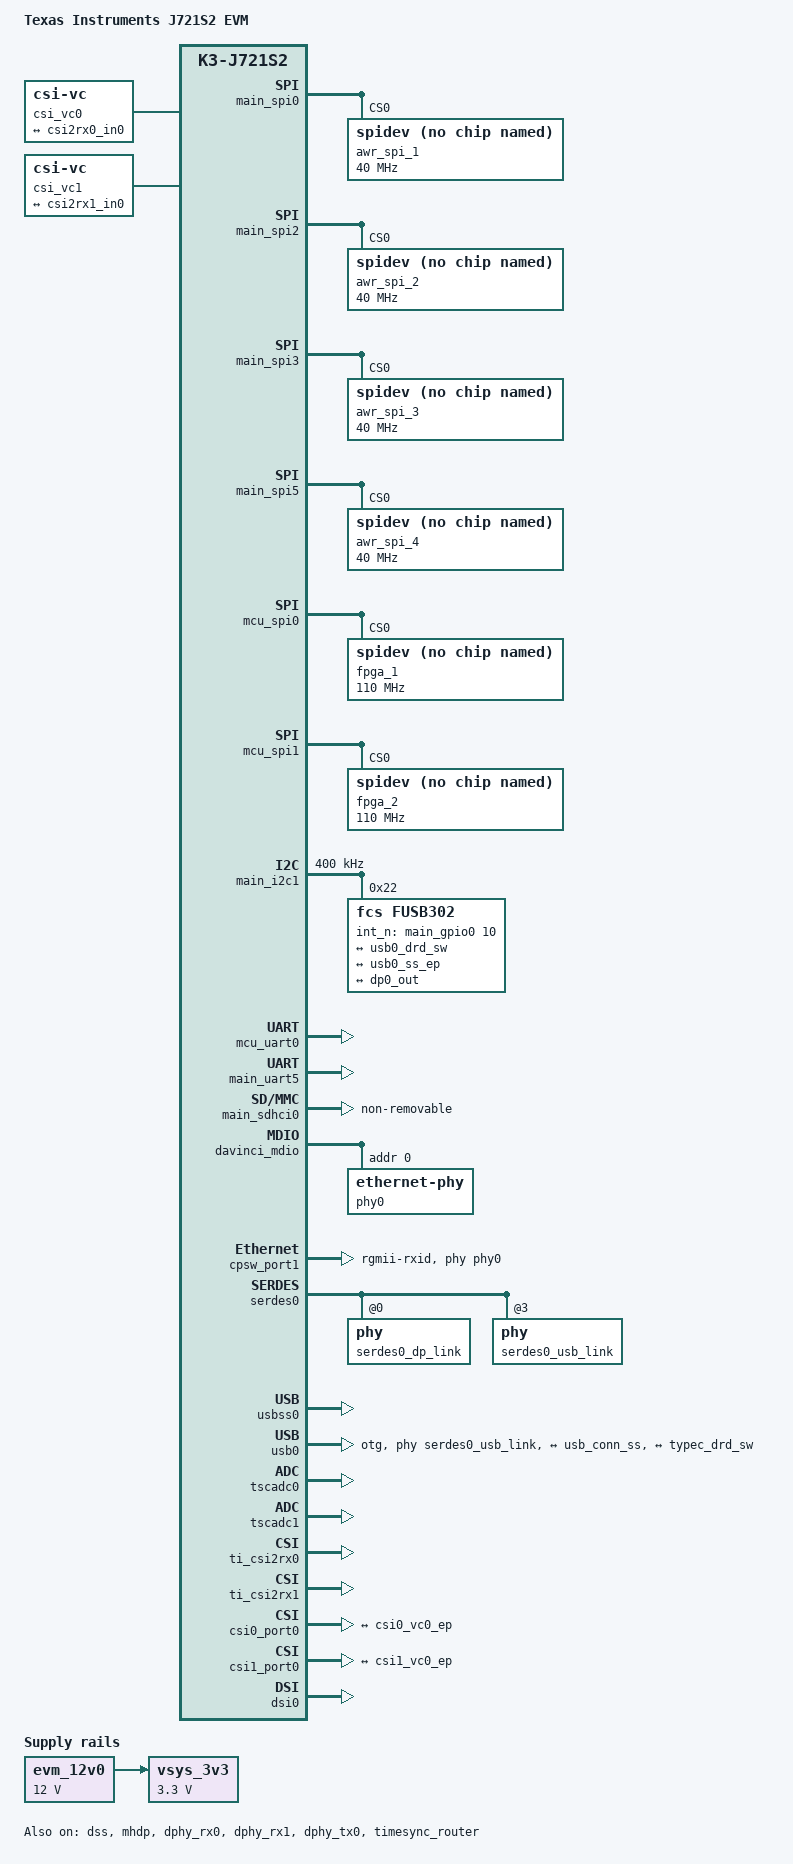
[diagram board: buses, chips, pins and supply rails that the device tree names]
// SPDX-License-Identifier: GPL-2.0
/*
 * Copyright (C) 2021 Texas Instruments Incorporated - https://www.ti.com/
 *
 * Common Processor Board: https://www.ti.com/tool/J721EXCPXEVM
 */

/dts-v1/;

#include "k3-j721s2-som-p0.dtsi"
#include <dt-bindings/net/ti-dp83867.h>
#include <dt-bindings/phy/phy-cadence.h>
#include <dt-bindings/phy/phy.h>
#include <dt-bindings/mux/ti-serdes.h>
#include <dt-bindings/usb/pd.h>

/ {
	compatible = "ti,j721s2-evm", "ti,j721s2";
	model = "Texas Instruments J721S2 EVM";

	chosen {
		//stdout-path = "serial2:115200n8";
		bootargs = "console=ttyS2,115200n8 mitigations=off root=/dev/mmcblk0p2";
	};

	aliases {
		serial0 = &wkup_uart0;
		serial1 = &mcu_uart0;
		serial2 = &main_uart5;
		mmc0 = &main_sdhci0;
		mmc1 = &main_sdhci1;
		can0 = &main_mcan16;
		can1 = &mcu_mcan0;
		can2 = &mcu_mcan1;
		can3 = &main_mcan3;
		can4 = &main_mcan5;
	};

	evm_12v0: fixedregulator-evm12v0 {
		/* main supply */
		compatible = "regulator-fixed";
		regulator-name = "evm_12v0";
		regulator-min-microvolt = <12000000>;
		regulator-max-microvolt = <12000000>;
		regulator-always-on;
		regulator-boot-on;
	};

	vsys_3v3: fixedregulator-vsys3v3 {
		/* Output of LM5140 */
		compatible = "regulator-fixed";
		regulator-name = "vsys_3v3";
		regulator-min-microvolt = <3300000>;
		regulator-max-microvolt = <3300000>;
		vin-supply = <&evm_12v0>;
		regulator-always-on;
		regulator-boot-on;
	};

	csi_vc0: csi-vc0 {
		compatible = "csi-vc";
		port {
			csi0_vc0_ep: endpoint {
				remote-endpoint = <&csi2rx0_in0>;
				clock-lanes = <0>;
				data-lanes = <1 2 3 4>;
			};
		};
	};

	csi_vc1: csi-vc1 {
		compatible = "csi-vc";
		port {
			csi1_vc0_ep: endpoint {
				remote-endpoint = <&csi2rx1_in0>;
				clock-lanes = <0>;
				data-lanes = <1 2 3 4>;
			};
		};
	};
};

&main_spi0 {
	status = "okay";
	pinctrl-names = "default";
	pinctrl-0 = <&main_spi0_pins_default>;
	ti,spi-num-cs = <1>;

	awr_spi_1: spi@0 {
		compatible = "rohm,dh2228fv";
		reg = <0>;
		spi-max-frequency = <40000000>;
	};
};

&main_spi2 {
	status = "okay";
	pinctrl-names = "default";
	pinctrl-0 = <&main_spi2_pins_default>;
	ti,spi-num-cs = <1>;

	awr_spi_2: spi@0 {
		compatible = "rohm,dh2228fv";
		reg = <0>;
		spi-max-frequency = <40000000>;
	};
};

&main_spi3 {
	status = "okay";
	pinctrl-names = "default";
	pinctrl-0 = <&main_spi3_pins_default>;
	ti,spi-num-cs = <1>;

	awr_spi_3: spi@0 {
		compatible = "rohm,dh2228fv";
		reg = <0>;
		spi-max-frequency = <40000000>;
	};
};

&main_spi5 {
	status = "okay";
	pinctrl-names = "default";
	pinctrl-0 = <&main_spi5_pins_default>;
	ti,spi-num-cs = <1>;

	awr_spi_4: spi@0 {
		compatible = "rohm,dh2228fv";
		reg = <0>;
		spi-max-frequency = <40000000>;
	};
};

&mcu_spi0 {
	status = "okay";
	pinctrl-names = "default";
	pinctrl-0 = <&mcu_spi0_pins_default>;
	ti,spi-num-cs = <1>;

	fpga_1: spi@0 {
		compatible = "rohm,dh2228fv";
		reg = <0>;
		spi-max-frequency = <110000000>;
	};
};

&mcu_spi1 {
	status = "okay";
	pinctrl-names = "default";
	pinctrl-0 = <&mcu_spi1_pins_default>;
	ti,spi-num-cs = <1>;

	fpga_2: spi@0 {
		compatible = "rohm,dh2228fv";
		reg = <0>;
		spi-max-frequency = <110000000>;
	};
};

&main_i2c1 {
	status = "okay";
	pinctrl-names = "default";
	pinctrl-0 = <&main_i2c1_pins_default>;
	clock-frequency = <400000>;

	fusb302@22 {
		compatible = "fcs,fusb302";
		reg = <0x22>;
		pinctrl-names = "default";
		pinctrl-0 = <&fusb302_cc_int>;
		fcs,int_n-gpios = <&main_gpio0 10 GPIO_ACTIVE_HIGH>;

		port {
			typec_drd_sw: endpoint {
				remote-endpoint = <&usb0_drd_sw>;
			};
		};

		typec_con: connector {
			compatible = "usb-c-connector";
			label = "USB-C";
			power-role = "sink";
			data-role = "dual";
			op-sink-microwatt = <27000000>;
			sink-pdos = <
				PDO_FIXED(5000, 3000, PDO_FIXED_USB_COMM | PDO_FIXED_DATA_SWAP)
				PDO_FIXED(20000, 3000,
					PDO_FIXED_HIGHER_CAP |
					PDO_FIXED_USB_COMM |
					PDO_FIXED_DATA_SWAP)
				PDO_VAR(9000, 20000, 3000)>;
			displayport = <&mhdp>;

			altmodes {
				displayport {
					svid = <0xff01>;
					vdo = <0x00001846>;
				};
			};

			ports {
				#address-cells = <1>;
				#size-cells = <0>;

				port@1 {
					reg = <1>;
					usb_conn_ss: endpoint {
						remote-endpoint = <&usb0_ss_ep>;
					};
				};

				port@2 {
					reg = <2>;
					dp_conn: endpoint {
						remote-endpoint = <&dp0_out>;
					};
				};
			};
		};
	};
};

&main_mcan16 {
	status = "disabled";
};

&main_pmx0 {
	main_uart5_pins_default: main-uart5-pins-default {
		pinctrl-single,pins = <
			J721S2_IOPAD(0x008, PIN_INPUT, 11) /* (AC24) MCAN12_RX.UART5_RXD */
			J721S2_IOPAD(0x004, PIN_OUTPUT, 11) /* (W25) MCAN12_TX.UART5_TXD */
		>;
	};

	main_uart3_pins_default: main-uart3pins-default {
		pinctrl-single,pins = <
			J721S2_IOPAD(0x078, PIN_INPUT, 11) /* (Y25) MCAN_RX.UART3_RXD */
			J721S2_IOPAD(0x074, PIN_OUTPUT, 11) /* (R28) MCAN_TX.UART3_TXD */
		>;
	};

	main_i2c1_pins_default: main-i2c1-pins-default {
		pinctrl-single,pins = <
			J721S2_IOPAD(0x020, PIN_INPUT_PULLUP, 12) /* (AA23) MCAN15_RX.I2C1_SCL */
			J721S2_IOPAD(0x024, PIN_INPUT_PULLUP, 12) /* (Y28) MCAN16_TX.I2C1_SDA */
		>;
	};
	fusb302_cc_int: fusb302-cc-int {
		pinctrl-single,pins = <
			J721S2_IOPAD(0x028, PIN_INPUT_PULLUP, 7) /* (AB24) MCAN16_RX.GPIO0_10 */
		>;
	};
	main_i2c3_pins_default: main-i2c3-pins-default {
		pinctrl-single,pins = <
			J721S2_IOPAD(0x064, PIN_INPUT_PULLUP, 13) /* (W28) MCAN0_TX.I2C3_SCL */
			J721S2_IOPAD(0x060, PIN_INPUT_PULLUP, 13) /* (AC27) MCASP2_AXR1.I2C3_SDA */
		>;
	};

	vdd_sd_dv_pins_default: vdd-sd-dv-pins-default {
		pinctrl-single,pins = <
			J721S2_IOPAD(0x020, PIN_INPUT, 7) /* (AA23) MCAN15_RX.GPIO0_8 */
		>;
	};

	main_usbss0_pins_default: main-usbss0-pins-default {
		pinctrl-single,pins = <
			J721S2_IOPAD(0x0ec, PIN_OUTPUT, 6) /* (AG25) TIMER_IO1.USB0_DRVVBUS */
		>;
	};

	main_spi0_pins_default: main-spi0-pins-default {
		pinctrl-single,pins = <
			/* PMIC Enable */
			J721S2_IOPAD(0x038, PIN_OUTPUT, 7) /* (AB28) MCASP0_ACLKX.GPIO0_14 */

			/* SOP */
			J721S2_IOPAD(0x048, PIN_OUTPUT, 7) /* (AB27) MCASP0_AXR2.GPIO0_18 */
			J721S2_IOPAD(0x044, PIN_OUTPUT, 7) /* (Y26) MCASP0_AXR1.GPIO0_17 */
			J721S2_IOPAD(0x040, PIN_OUTPUT, 7) /* (AC28) MCASP0_AXR0.GPIO0_16 */

			/* AWR 1 */
			J721S2_IOPAD(0x0d4, PIN_OUTPUT, 0) /* (AH27) SPI0_CLK.SPI0_CLK */
			J721S2_IOPAD(0x0cc, PIN_OUTPUT, 0) /* (AE27) SPI0_CS0.SPI0_CS0 */
			J721S2_IOPAD(0x0d8, PIN_INPUT, 0)  /* (AG26) SPI0_D0.SPI0_D0 */
			J721S2_IOPAD(0x0dc, PIN_OUTPUT, 0) /* (AH26) SPI0_D1.SPI0_D1 */

			/* Host Interrupt */
			J721S2_IOPAD(0x000, PIN_INPUT, 7) /* (AG24) EXTINTn.GPIO0_0 */

			/* Reset */
			J721S2_IOPAD(0x054, PIN_OUTPUT, 7) /* (Y27) MCASP2_ACLKX.GPIO0_21 */
		>;
	};

	main_spi2_pins_default: main-spi2-pins-default {
		pinctrl-single,pins = <
			/* AWR 2 */
			J721S2_IOPAD(0x0a0, PIN_OUTPUT, 10) /* (AB25) MCASP0_AXR12.SPI2_CLK */
			J721S2_IOPAD(0x0a4, PIN_OUTPUT, 10) /* (T23)  MCASP0_AXR13.SPI2_CS0 */
			J721S2_IOPAD(0x0a8, PIN_INPUT,  10) /* (U24)  MCASP0_AXR14.SPI2_D0 */
			J721S2_IOPAD(0x0ac, PIN_OUTPUT, 10) /* (AC25) MCASP0_AXR15.SPI2_D1 */

			/* Host Interrupt */
			J721S2_IOPAD(0x09c, PIN_INPUT, 7) /* (T24) MCASP0_AXR11.GPIO0_39 */

			/* Reset */
			J721S2_IOPAD(0x058, PIN_OUTPUT, 7) /* (AA27) MCASP2_AFSX.GPIO0_22 */
		>;
	};

	main_spi3_pins_default: main-spi3-pins-default {
		pinctrl-single,pins = <
			/* AWR 3 */
			J721S2_IOPAD(0x0bc, PIN_OUTPUT, 8) /* (V28) MCASP1_AFSX.SPI3_CS0 */
			J721S2_IOPAD(0x0c0, PIN_OUTPUT, 8) /* (T28) MCASP1_AXR0.SPI3_CLK */
			J721S2_IOPAD(0x04c, PIN_INPUT,  8) /* (V27) MCASP1_AXR1.SPI3_D0 */
			J721S2_IOPAD(0x050, PIN_OUTPUT, 8) /* (W27) MCASP1_AXR2.SPI3_D1 */

			/* Host Interrupt */
			J721S2_IOPAD(0x02c, PIN_INPUT, 7) /* (V23) GPIO0_11 */

			/* Reset */
			J721S2_IOPAD(0x05c, PIN_OUTPUT, 7) /* (AA26) MCASP2_AXR0.GPIO0_23 */
		>;
	};

	main_spi5_pins_default: main-spi5-pins-default {
		pinctrl-single,pins = <
			/* AWR 4 */
			J721S2_IOPAD(0x068, PIN_OUTPUT, 8)  /* (U28) MCAN0_RX.SPI5_CS0 */
			J721S2_IOPAD(0x070, PIN_INPUT,  8)  /* (R27) MCAN1_RX.SPI5_D0 */
			J721S2_IOPAD(0x07c, PIN_OUTPUT, 8)  /* (T27) MCASP0_AXR3.SPI5_CLK */
			J721S2_IOPAD(0x088, PIN_OUTPUT, 11) /* (AD27) MCASP0_AXR6.SPI5_D1 */

			/* Host Interrupt */
			J721S2_IOPAD(0x08c, PIN_INPUT, 7) /* (T25) MCASP0_AXR7.GPIO0_35 */

			/* Reset */
			J721S2_IOPAD(0x060, PIN_OUTPUT, 7) /* (AC27) MCASP2_AXR1.GPIO0_24 */
		>;
	};

	dp0_pins_default: dp0-pins-default {
		pinctrl-single,pins = <
			J721S2_IOPAD(0x0b8, PIN_INPUT_PULLUP, 3) /* (AA24) MCASP1_ACLKX.DP0_HPD */
		>;
	};
};

&wkup_pmx1 {
};

&wkup_pmx2 {
	mcu_cpsw_pins_default: mcu-cpsw-pins-default {
		pinctrl-single,pins = <
			J721S2_WKUP_IOPAD(0x02c, PIN_INPUT, 0) /* (B22) MCU_RGMII1_RD0 */
			J721S2_WKUP_IOPAD(0x028, PIN_INPUT, 0) /* (B21) MCU_RGMII1_RD1 */
			J721S2_WKUP_IOPAD(0x024, PIN_INPUT, 0) /* (C22) MCU_RGMII1_RD2 */
			J721S2_WKUP_IOPAD(0x020, PIN_INPUT, 0) /* (D23) MCU_RGMII1_RD3 */
			J721S2_WKUP_IOPAD(0x01c, PIN_INPUT, 0) /* (D22) MCU_RGMII1_RXC */
			J721S2_WKUP_IOPAD(0x004, PIN_INPUT, 0) /* (E23) MCU_RGMII1_RX_CTL */
			J721S2_WKUP_IOPAD(0x014, PIN_OUTPUT, 0) /* (F23) MCU_RGMII1_TD0 */
			J721S2_WKUP_IOPAD(0x010, PIN_OUTPUT, 0) /* (G22) MCU_RGMII1_TD1 */
			J721S2_WKUP_IOPAD(0x00c, PIN_OUTPUT, 0) /* (E21) MCU_RGMII1_TD2 */
			J721S2_WKUP_IOPAD(0x008, PIN_OUTPUT, 0) /* (E22) MCU_RGMII1_TD3 */
			J721S2_WKUP_IOPAD(0x018, PIN_OUTPUT, 0) /* (F21) MCU_RGMII1_TXC */
			J721S2_WKUP_IOPAD(0x000, PIN_OUTPUT, 0) /* (F22) MCU_RGMII1_TX_CTL */
		>;
	};

	mcu_mdio_pins_default: mcu-mdio-pins-default {
		pinctrl-single,pins = <
			J721S2_WKUP_IOPAD(0x034, PIN_OUTPUT, 0) /* (A21) MCU_MDIO0_MDC */
			J721S2_WKUP_IOPAD(0x030, PIN_INPUT, 0) /* (A22) MCU_MDIO0_MDIO */
		>;
	};

	mcu_mcan0_pins_default: mcu-mcan0-pins-default {
		pinctrl-single,pins = <
			J721S2_WKUP_IOPAD(0x054, PIN_INPUT, 0) /* (E28) MCU_MCAN0_RX */
			J721S2_WKUP_IOPAD(0x050, PIN_OUTPUT, 0) /* (E27) MCU_MCAN0_TX */
		>;
	};

	mcu_mcan1_pins_default: mcu-mcan1-pins-default {
		pinctrl-single,pins = <
			J721S2_WKUP_IOPAD(0x06c, PIN_INPUT, 0) /* (F26) WKUP_GPIO0_5.MCU_MCAN1_RX */
			J721S2_WKUP_IOPAD(0x068, PIN_OUTPUT, 0) /* (C23) WKUP_GPIO0_4.MCU_MCAN1_TX */
		>;
	};

	mcu_adc0_pins_default: mcu-adc0-pins-default {
		pinctrl-single,pins = <
			J721S2_WKUP_IOPAD(0x0cc, PIN_INPUT, 0) /* (L25) MCU_ADC0_AIN0 */
			J721S2_WKUP_IOPAD(0x0d0, PIN_INPUT, 0) /* (K25) MCU_ADC0_AIN1 */
			J721S2_WKUP_IOPAD(0x0d4, PIN_INPUT, 0) /* (M24) MCU_ADC0_AIN2 */
			J721S2_WKUP_IOPAD(0x0d8, PIN_INPUT, 0) /* (L24) MCU_ADC0_AIN3 */
			J721S2_WKUP_IOPAD(0x0dc, PIN_INPUT, 0) /* (L27) MCU_ADC0_AIN4 */
			J721S2_WKUP_IOPAD(0x0e0, PIN_INPUT, 0) /* (K24) MCU_ADC0_AIN5 */
			J721S2_WKUP_IOPAD(0x0e4, PIN_INPUT, 0) /* (M27) MCU_ADC0_AIN6 */
			J721S2_WKUP_IOPAD(0x0e8, PIN_INPUT, 0) /* (M26) MCU_ADC0_AIN7 */
		>;
	};

	mcu_adc1_pins_default: mcu-adc1-pins-default {
		pinctrl-single,pins = <
			J721S2_WKUP_IOPAD(0x0ec, PIN_INPUT, 0) /* (P25) MCU_ADC1_AIN0 */
			J721S2_WKUP_IOPAD(0x0f0, PIN_INPUT, 0) /* (R25) MCU_ADC1_AIN1 */
			J721S2_WKUP_IOPAD(0x0f4, PIN_INPUT, 0) /* (P28) MCU_ADC1_AIN2 */
			J721S2_WKUP_IOPAD(0x0f8, PIN_INPUT, 0) /* (P27) MCU_ADC1_AIN3 */
			J721S2_WKUP_IOPAD(0x0fc, PIN_INPUT, 0) /* (N25) MCU_ADC1_AIN4 */
			J721S2_WKUP_IOPAD(0x100, PIN_INPUT, 0) /* (P26) MCU_ADC1_AIN5 */
			J721S2_WKUP_IOPAD(0x104, PIN_INPUT, 0) /* (N26) MCU_ADC1_AIN6 */
			J721S2_WKUP_IOPAD(0x108, PIN_INPUT, 0) /* (N27) MCU_ADC1_AIN7 */
		>;
	};

	mcu_uart0_pins_default: mcu-uart0-pins-default {
		pinctrl-single,pins = <
			J721S2_WKUP_IOPAD(0x090, PIN_INPUT, 0) /* (B24) WKUP_GPIO0_14.MCU_UART0_CTSn */
			J721S2_WKUP_IOPAD(0x094, PIN_OUTPUT, 0) /* (D25) WKUP_GPIO0_15.MCU_UART0_RTSn */
			J721S2_WKUP_IOPAD(0x08c, PIN_INPUT, 0) /* (C24) WKUP_GPIO0_13.MCU_UART0_RXD */
			J721S2_WKUP_IOPAD(0x088, PIN_OUTPUT, 0) /* (C25) WKUP_GPIO0_12.MCU_UART0_TXD */
		>;
	};

	wkup_uart0_pins_default: wkup-uart0-pins-default {
		pinctrl-single,pins = <
			J721S2_WKUP_IOPAD(0x070, PIN_INPUT, 0) /* (E25) WKUP_GPIO0_6.WKUP_UART0_CTSn */
			J721S2_WKUP_IOPAD(0x074, PIN_OUTPUT, 0) /* (F28) WKUP_GPIO0_7.WKUP_UART0_RTSn */
			J721S2_WKUP_IOPAD(0x048, PIN_INPUT, 0) /* (D28) WKUP_UART0_RXD */
			J721S2_WKUP_IOPAD(0x04c, PIN_OUTPUT, 0) /* (D27) WKUP_UART0_TXD */
		>;
	};

	mcu_spi0_pins_default: mcu-spi0-pins-default {
		pinctrl-single,pins = <
			J721S2_WKUP_IOPAD(0x038, PIN_OUTPUT, 0) /* (B27) MCU_SPI0_CLK */
			J721S2_WKUP_IOPAD(0x03C, PIN_INPUT, 0)  /* (D24) MCU_SPI0_D0 */
			J721S2_WKUP_IOPAD(0x040, PIN_OUTPUT, 0) /* (B25) MCU_SPI0_D1 */
			J721S2_WKUP_IOPAD(0x044, PIN_OUTPUT_PULLUP, 7) /* (B26) MCU_SPI0_CS0.WKUP_GPIO0_70 */

			/* FPGA CRESETN */
			J721S2_WKUP_IOPAD(0x080, PIN_OUTPUT, 7) /* (F27) WKUP_GPIO0_10 */

			/* FPGA CDONE */
			J721S2_WKUP_IOPAD(0x078, PIN_INPUT_PULLUP, 7) /* (F24) WKUP_GPIO0_8 */
		>;
	};

	mcu_spi1_pins_default: mcu-spi1-pins-default {
		pinctrl-single,pins = <
			J721S2_WKUP_IOPAD(0x058, PIN_OUTPUT, 0) /* (D26) WKUP_GPIO0_0.MCU_SPI1_CLK */
			J721S2_WKUP_IOPAD(0x05c, PIN_INPUT, 0) /* (E24) WKUP_GPIO0_1.MCU_SPI1_D0 */
			J721S2_WKUP_IOPAD(0x060, PIN_OUTPUT, 0) /* (C28) WKUP_GPIO0_2.MCU_SPI1_D1 */
			J721S2_WKUP_IOPAD(0x064, PIN_OUTPUT_PULLUP, 7) /* (C27) WKUP_GPIO0_3 */

			/* FPGA CRESETN */
			J721S2_WKUP_IOPAD(0x084, PIN_OUTPUT, 7) /* (F25) WKUP_GPIO0_11 */

			/* FPGA CDONE */
			J721S2_WKUP_IOPAD(0x07c, PIN_INPUT_PULLUP, 7) /* (H26) WKUP_GPIO0_9 */
		>;
	};
};

&main_gpio2 {
	status = "disabled";
};

&main_gpio4 {
	status = "disabled";
};

&main_gpio6 {
	status = "disabled";
};

&wkup_gpio1 {
	status = "disabled";
};

&wkup_uart0 {
	status = "reserved";
	pinctrl-names = "default";
	pinctrl-0 = <&wkup_uart0_pins_default>;
};

&mcu_uart0 {
	status = "okay";
	pinctrl-names = "default";
	pinctrl-0 = <&mcu_uart0_pins_default>;
};

&main_uart5 {
	status = "okay";
	pinctrl-names = "default";
	pinctrl-0 = <&main_uart5_pins_default>;
};

&vpu {
	sram-size = <0>;
};

/delete-node/ &mux0;
/delete-node/ &mux1;
/delete-node/ &exp_som;

&main_i2c0 {
	status = "disabled";
};

&main_sdhci0 {
	/* eMMC */
	non-removable;
	ti,driver-strength-ohm = <50>;
	disable-wp;
};

&mcu_cpsw {
	pinctrl-names = "default";
	pinctrl-0 = <&mcu_cpsw_pins_default &mcu_mdio_pins_default>;

	cpts@3d000 {
		/* Map HW4_TS_PUSH to GENF1 */
		ti,pps = <3 1>;
	};
};

&davinci_mdio {
	phy0: ethernet-phy@0 {
		reg = <0>;
		ti,rx-internal-delay = <DP83867_RGMIIDCTL_2_00_NS>;
		ti,fifo-depth = <DP83867_PHYCR_FIFO_DEPTH_4_B_NIB>;
		ti,min-output-impedance;
	};
};

&cpsw_port1 {
	phy-mode = "rgmii-rxid";
	phy-handle = <&phy0>;
};

&serdes_ln_ctrl {
	idle-states = <J721S2_SERDES0_LANE0_EDP_LANE0>, <J721S2_SERDES0_LANE1_EDP_LANE1>,
		      <J721S2_SERDES0_LANE2_IP4_UNUSED>, <J721S2_SERDES0_LANE3_USB>;
};

&serdes_refclk {
	clock-frequency = <100000000>;
};

/delete-node/ &torrent_phy_dp;
&serdes0 {
	status = "okay";

	serdes0_dp_link: phy@0 {
		reg = <0>;
		resets = <&serdes_wiz0 1>;
		cdns,phy-type = <PHY_TYPE_DP>;
		cdns,num-lanes = <2>;
		cdns,max-bit-rate = <5400>;
		#phy-cells = <0>;
	};
	serdes0_usb_link: phy@3 {
		reg = <3>;
		cdns,num-lanes = <1>;
		#phy-cells = <0>;
		cdns,phy-type = <PHY_TYPE_USB3>;
		resets = <&serdes_wiz0 4>;
	};
};

&mcu_conf {
	spi1_ctrl_mux: mux-controller@4060 {
		compatible = "mmio-mux";
		reg = <0x4060 0x4>;
		#mux-control-cells = <1>;
		/* SPI3 <-> SPI1 loopback mux */
		mux-reg-masks = <0x4060 0x1>;
		idle-states = <1>; /* Disable loopback */
	};
};

&usb_serdes_mux {
	idle-states = <0>; /* USB0 to SERDES lane 3 */
};

&edp_serdes_mux {
	idle-states = <0>; /* EDP0 to SERDES lane 0/1 */
};

&usbss0 {
	status = "okay";
	pinctrl-0 = <&main_usbss0_pins_default>;
	pinctrl-names = "default";
	ti,vbus-divider;
};

&usb0 {
	#address-cells = <1>;
	#size-cells = <0>;
	dr_mode = "otg";
	maximum-speed = "super-speed";
	phys = <&serdes0_usb_link>;
	phy-names = "cdns3,usb3-phy";
	usb-role-switch;

	port@0 {
		reg = <0>;
		usb0_ss_ep: endpoint {
			remote-endpoint = <&usb_conn_ss>;
		};
	};

	port@1 {
		reg = <1>;
		usb0_drd_sw: endpoint {
			remote-endpoint = <&typec_drd_sw>;
		};
	};
};

&pcie1_rc {
	status = "disabled";
};

&ospi0 {
	status = "disabled";
};

&tscadc0 {
	pinctrl-0 = <&mcu_adc0_pins_default>;
	pinctrl-names = "default";
	status = "okay";
	adc {
		ti,adc-channels = <0 1 2 3 4 5 6 7>;
	};
};

&tscadc1 {
	pinctrl-0 = <&mcu_adc1_pins_default>;
	pinctrl-names = "default";
	status = "okay";
	adc {
		ti,adc-channels = <0 1 2 3 4 5 6 7>;
	};
};

/delete-node/ &dsi_edp_bridge;

&dss {
	/*
	 * These clock assignments are chosen to enable the following outputs:
	 *
	 * VP0 - DisplayPort SST
	 * VP1 - DPI0
	 * VP2 - DSI
	 * VP3 - DPI1
	 */
	status = "okay";
	assigned-clocks = <&k3_clks 158 2>,
			  <&k3_clks 158 5>,
			  <&k3_clks 158 14>,
			  <&k3_clks 158 18>;
	assigned-clock-parents = <&k3_clks 158 3>,
				 <&k3_clks 158 7>,
				 <&k3_clks 158 16>,
				 <&k3_clks 158 22>;
};

&dss_ports {
	#address-cells = <1>;
	#size-cells = <0>;

	port@0 {
		reg = <0>;
		dpi0_out: endpoint {
			remote-endpoint = <&dp0_in>;
		};
	};
};

&mhdp {
	status = "okay";
	pinctrl-names = "default";
	pinctrl-0 = <&dp0_pins_default>;
	cdns,no-hpd;
	phys = <&serdes0_dp_link>;
	phy-names = "dpphy";
};

&dp0_ports {
	#address-cells = <1>;
	#size-cells = <0>;

	port@0 {
		reg = <0>;
		dp0_in: endpoint {
			remote-endpoint = <&dpi0_out>;
		};
	};

	port@4 {
		reg = <4>;
		dp0_out: endpoint {
			remote-endpoint = <&dp_conn>;
		};
	};
};

&ti_csi2rx0 {
	status = "okay";
	/* MIPI-CSI Connector */
};

&ti_csi2rx1 {
	status = "okay";
	/* MIPI-CSI Connector */
};

&csi0_port0 {
	status = "okay";

	csi2rx0_in0: endpoint {
		remote-endpoint = <&csi0_vc0_ep>;
		bus-type = <4>; /* CSI2 DPHY */
		clock-lanes = <0>;
		data-lanes = <1 2 3 4>;
	};
};

&csi1_port0 {
	status = "okay";

	csi2rx1_in0: endpoint {
		remote-endpoint = <&csi1_vc0_ep>;
		bus-type = <4>; /* CSI2 DPHY */
		clock-lanes = <0>;
		data-lanes = <1 2 3 4>;
	};
};

&dphy_rx0 {
	status = "okay";
};

&dphy_rx1 {
	status = "okay";
};

&dphy_tx0 {
	status = "okay";
};

&dsi0 {
	status = "okay";
};

#define K3_TS_OFFSET(pa, val)  (0x4+(pa)*4) (0x10000 | val)

&timesync_router {
	status = "okay";
	pinctrl-names = "default";
	pinctrl-0 = <&mcu_cpsw_cpts>;

	/* Use Time Sync Router to map GENF1 input to HW4_TS_PUSH output */
	mcu_cpsw_cpts: mcu-cpsw-cpts {
		pinctrl-single,pins = <
			/* pps [mcu cpsw cpts genf1] in17 -> out25 [mcu cpsw cpts hw4_push] */
			K3_TS_OFFSET(25, 17)
			>;
	};
};
